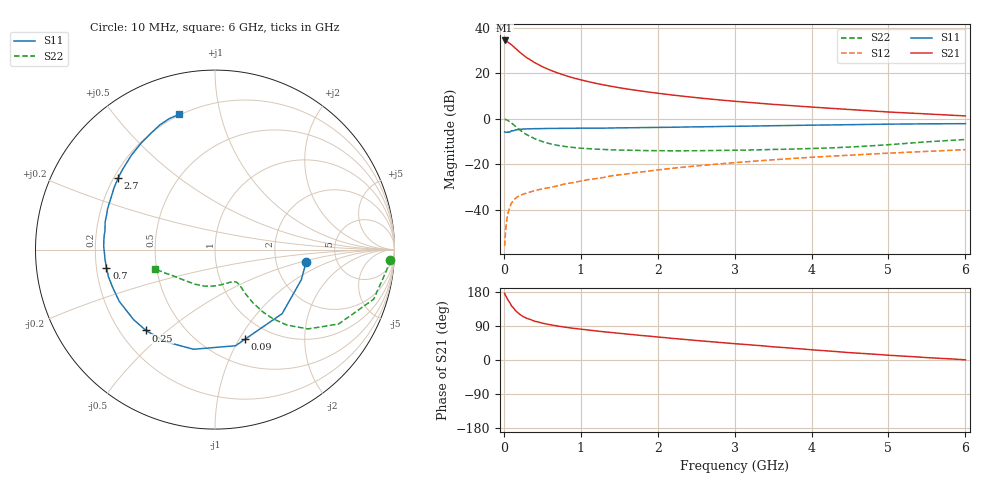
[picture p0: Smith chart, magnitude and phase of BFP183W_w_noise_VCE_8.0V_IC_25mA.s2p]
! Infineon Technologies  Discrete & RF Semiconductors
! BFP183W
! VCE =  8.0 V,  IC =  25 mA
! Common Emitter S-Parameters:  Jan 2017
# GHz  S  MA  R  50
!  f  S11  S21  S12  S22
! GHz  MAG  ANG  MAG  ANG  MAG  ANG  MAG  ANG
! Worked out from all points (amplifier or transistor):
!   77 points, 10 MHz to 6 GHz, reference 50 ohm
!   highest |S21| = 34.3 dB at 10 MHz (marker M1)
!   |S21| within 3 dB of that: start of sweep to 135.8 MHz
!   unconditionally stable (mu >= 1): 1.123 GHz to 3.476 GHz
!   at 130 MHz: K = 0.26, MSG = 33.6 dB, |S12| = -35.7 dB
!   at 2.2 GHz: K = 1.06, MAG = 14.6 dB, |S12| = -21.7 dB
!   at 6 GHz: K = 0.87, MSG = 7.4 dB, |S12| = -13.6 dB
!   lowest NFmin = 1.29 dB at 450 MHz
!   S11 on the Smith chart (normalised r, x): 10 MHz: 2.98, -0.57; 90 MHz: 0.76, -1.06; 250 MHz: 0.31, -0.42; 700 MHz: 0.24, -0.08; 2.7 GHz: 0.22, +0.31; 6 GHz: 0.20, +0.75
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0.01  0.5122 -7.9  52.07 175.9  0.0016 82.2  0.978 -3.3
0.02  0.5093 -19.2  51.05 171.2  0.0029 90.0  0.9624 -7.0
0.05  0.517 -43.6  48.48 159.6  0.008 74.9  0.9259 -17.4
0.09  0.5269 -71.6  42.9 146.6  0.0129 63.8  0.8239 -28.0
0.1  0.5478 -77.9  41.9 142.9  0.0142 62.3  0.8035 -31.1
0.15  0.5681 -102.2  35.12 130.7  0.0179 54.6  0.6801 -40.5
0.2  0.5829 -118.5  29.46 121.6  0.0205 50.7  0.5805 -46.4
0.25  0.5925 -130.5  25.13 114.8  0.0221 47.7  0.5033 -50.0
0.3  0.5983 -139.3  21.7 109.8  0.0235 47.3  0.4433 -52.3
0.4  0.6064 -151.5  17.01 102.4  0.0264 47.8  0.3645 -54.5
0.5  0.6079 -159.8  13.84 97.3  0.0289 48.5  0.3153 -55.2
0.6  0.6126 -165.7  11.7 93.1  0.031 50.1  0.2828 -55.5
0.7  0.6128 -170.6  10.08 89.7  0.0337 52.1  0.2599 -55.2
0.9  0.6164 -178.4  7.881 83.8  0.0397 55.5  0.2343 -55.7
1.1  0.6213 175.7  6.494 79.1  0.0462 57.7  0.2204 -56.3
1.5  0.6306 166.2  4.784 70.5  0.0586 59.4  0.2054 -60.3
2.1  0.6468 153.9  3.454 58.9  0.0787 59.7  0.1983 -71.3
2.7  0.6702 143.6  2.686 48.2  0.0985 58.1  0.2004 -86.1
3.1  0.6852 137.4  2.341 41.6  0.112 56.4  0.2045 -96.3
4.1  0.7256 123.4  1.758 25.5  0.1456 51.0  0.2246 -122.7
5.1  0.7623 112.8  1.377 11.4  0.1787 45.0  0.2769 -148.3
6  0.7795 104.9  1.151 0.5  0.2095 39.1  0.3499 -162.1
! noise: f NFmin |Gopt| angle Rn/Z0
0.45  1.29  0.25  177  0.1
0.9  1.32  0.28  180  0.09
1.9  1.8  0.43  -158  0.09
2.4  2.04  0.48  -154  0.13
